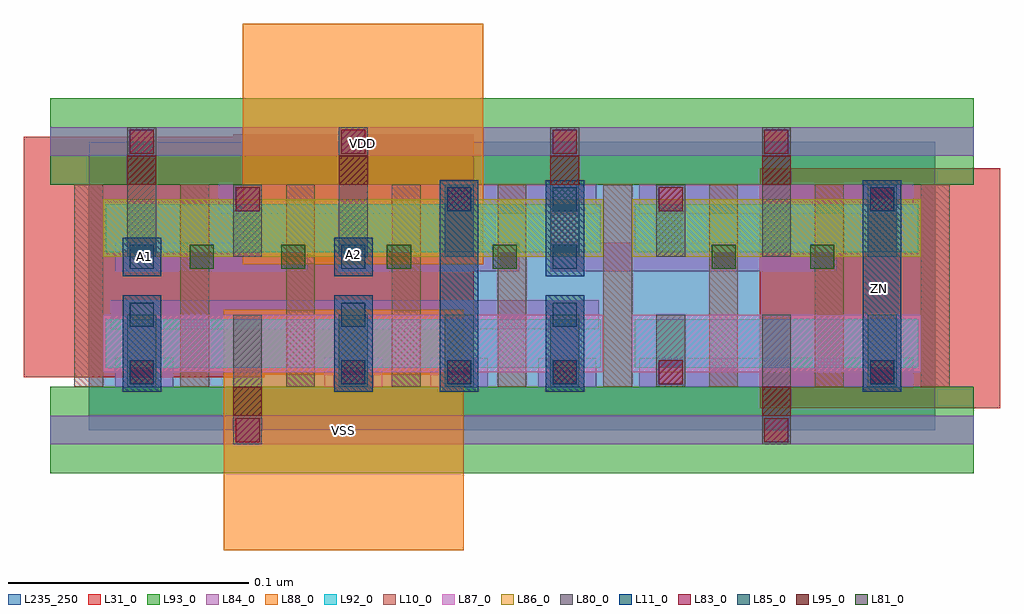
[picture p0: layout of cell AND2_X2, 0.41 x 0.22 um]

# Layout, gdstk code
import gdstk
lib = gdstk.Library(unit=1e-6, precision=1e-09)
def R(c, l, rs):  # rectangles x0, y0, x1, y1
    for r in rs: c.add(gdstk.rectangle(r[:2], r[2:], *l))
def A(c, l, x, y, w, h, nx, ny, dx, dy):  # array of equal rectangles
    R(c, l, [(x+i*dx, y+j*dy, x+i*dx+w, y+j*dy+h) for i in range(nx) for j in range(ny)])
L10_0 = (10, 0)
L11_0 = (11, 0)
L31_0 = (31, 0)
L80_0 = (80, 0)
L81_0 = (81, 0)
L83_0 = (83, 0)
L84_0 = (84, 0)
L85_0 = (85, 0)
L86_0 = (86, 0)
L87_0 = (87, 0)
L88_0 = (88, 0)
L92_0 = (92, 0)
L93_0 = (93, 0)
L95_0 = (95, 0)
L235_250 = (235, 250)

and2_x2 = lib.new_cell('AND2_X2')
A(and2_x2, L10_0, -0.006, 0.018, 0.012, 0.084, 9, 1, 0.044, 0)
A(and2_x2, L11_0, 0.014, 0.016, 0.016, 0.04, 3, 1, 0.088, 0)
R(and2_x2, L11_0, [(0.146,0.016,0.162,0.104), (0.322,0.016,0.338,0.104), (0.014,0.064,0.03,0.08), (0.102,0.064,0.118,0.08), (0.19,0.064,0.206,0.104)])
R(and2_x2, L31_0, [(0.279,0.009,0.379,0.109), (-0.027,0.022,0.073,0.122), (0.06,0.023,0.16,0.123)])
A(and2_x2, L80_0, 0.104, 0.018, 0.012, 0.03, 4, 1, 0.044, 0)
A(and2_x2, L80_0, 0.016, 0.072, 0.012, 0.054, 4, 1, 0.088, 0)
A(and2_x2, L80_0, 0.06, 0.072, 0.012, 0.03, 4, 1, 0.088, 0)
R(and2_x2, L80_0, [(0.06,-0.006,0.072,0.048), (0.28,-0.006,0.292,0.048), (0.016,0.018,0.028,0.048), (0.324,0.018,0.336,0.048)])
A(and2_x2, L81_0, 0.08, 0.067, 0.01, 0.01, 3, 1, 0.044, 0)
R(and2_x2, L81_0, [(0.042,0.067,0.052,0.077), (0.259,0.067,0.269,0.077), (0.3,0.067,0.31,0.077)])
A(and2_x2, L83_0, 0.105, 0.019, 0.01, 0.01, 4, 1, 0.044, 0)
A(and2_x2, L83_0, 0.061, 0.091, 0.01, 0.01, 4, 1, 0.088, 0)
A(and2_x2, L83_0, 0.017, 0.115, 0.01, 0.01, 4, 1, 0.088, 0)
R(and2_x2, L83_0, [(0.061,-0.005,0.071,0.005), (0.281,-0.005,0.291,0.005), (0.017,0.019,0.027,0.029), (0.325,0.019,0.335,0.029)])
R(and2_x2, L84_0, [(-0.016,-0.006,0.368,0.006), (0.011,0.018,0.035,0.03), (0.098,0.018,0.122,0.03), (0.142,0.018,0.166,0.03), (0.187,0.018,0.211,0.03), (0.229,0.018,0.343,0.03), (0.009,0.042,0.212,0.054), (0.011,0.066,0.091,0.078), (0.104,0.066,0.179,0.078), (0.192,0.066,0.311,0.078), (0.054,0.09,0.211,0.102), (0.229,0.09,0.343,0.102), (-0.016,0.114,0.368,0.126)])
A(and2_x2, L85_0, 0.105, 0.019, 0.01, 0.01, 3, 1, 0.044, 0)
A(and2_x2, L85_0, 0.017, 0.043, 0.01, 0.01, 3, 2, 0.088, 0.024)
R(and2_x2, L85_0, [(0.017,0.019,0.027,0.029), (0.325,0.019,0.335,0.029), (0.149,0.091,0.159,0.101), (0.193,0.091,0.203,0.101), (0.325,0.091,0.335,0.101)])
R(and2_x2, L86_0, [(0.006,0.072,0.214,0.096), (0.226,0.072,0.346,0.096)])
R(and2_x2, L87_0, [(0.006,0.024,0.214,0.048), (0.226,0.024,0.346,0.048)])
R(and2_x2, L88_0, [(0.056,-0.05,0.156,0.05), (0.064,0.069,0.164,0.169)])
R(and2_x2, L92_0, [(0.007,0.026,0.213,0.046), (0.227,0.026,0.345,0.046), (0.007,0.074,0.213,0.094), (0.227,0.074,0.345,0.094)])
R(and2_x2, L93_0, [(-0.016,-0.018,0.368,0.018), (-0.016,0.102,0.368,0.138)])
A(and2_x2, L95_0, 0.016, 0.102, 0.012, 0.012, 4, 1, 0.088, 0)
R(and2_x2, L95_0, [(0.06,0.006,0.072,0.018), (0.28,0.006,0.292,0.018)])
R(and2_x2, L235_250, [(0,0,0.352,0.12)])
and2_x2.add(gdstk.Label('VDD', (0.114,0.119), layer=88, texttype=0))
and2_x2.add(gdstk.Label('VSS', (0.106,0), layer=88, texttype=0))
and2_x2.add(gdstk.Label('A1', (0.023,0.072), layer=31, texttype=0))
and2_x2.add(gdstk.Label('A2', (0.11,0.073), layer=31, texttype=0))
and2_x2.add(gdstk.Label('ZN', (0.329,0.059), layer=31, texttype=0))

lib.write_gds('AND2_X2.gds')
